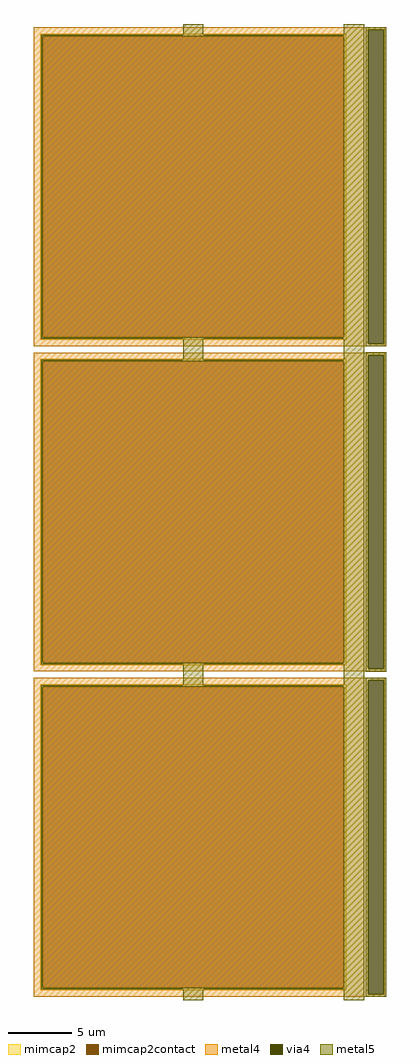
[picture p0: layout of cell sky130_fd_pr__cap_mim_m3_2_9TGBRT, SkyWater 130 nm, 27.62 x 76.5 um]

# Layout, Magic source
magic
tech sky130A
magscale 1 2
<< metal4 >>
rect -2751 7559 2751 7600
rect -2751 2641 2495 7559
rect 2731 2641 2751 7559
rect -2751 2600 2751 2641
rect -2751 2459 2751 2500
rect -2751 -2459 2495 2459
rect 2731 -2459 2751 2459
rect -2751 -2500 2751 -2459
rect -2751 -2641 2751 -2600
rect -2751 -7559 2495 -2641
rect 2731 -7559 2751 -2641
rect -2751 -7600 2751 -7559
<< via4 >>
rect 2495 2641 2731 7559
rect 2495 -2459 2731 2459
rect 2495 -7559 2731 -2641
<< mimcap2 >>
rect -2651 7460 2149 7500
rect -2651 2740 -2611 7460
rect 2109 2740 2149 7460
rect -2651 2700 2149 2740
rect -2651 2360 2149 2400
rect -2651 -2360 -2611 2360
rect 2109 -2360 2149 2360
rect -2651 -2400 2149 -2360
rect -2651 -2740 2149 -2700
rect -2651 -7460 -2611 -2740
rect 2109 -7460 2149 -2740
rect -2651 -7500 2149 -7460
<< mimcap2contact >>
rect -2611 2740 2109 7460
rect -2611 -2360 2109 2360
rect -2611 -7460 2109 -2740
<< metal5 >>
rect -411 7484 -91 7650
rect 2109 7484 2429 7650
rect -2635 7460 2429 7484
rect -2635 2740 -2611 7460
rect 2109 2740 2429 7460
rect -2635 2716 2429 2740
rect -411 2384 -91 2716
rect 2109 2384 2429 2716
rect 2453 7559 2773 7601
rect 2453 2641 2495 7559
rect 2731 2641 2773 7559
rect 2453 2599 2773 2641
rect -2635 2360 2429 2384
rect -2635 -2360 -2611 2360
rect 2109 -2360 2429 2360
rect -2635 -2384 2429 -2360
rect -411 -2716 -91 -2384
rect 2109 -2716 2429 -2384
rect 2453 2459 2773 2501
rect 2453 -2459 2495 2459
rect 2731 -2459 2773 2459
rect 2453 -2501 2773 -2459
rect -2635 -2740 2429 -2716
rect -2635 -7460 -2611 -2740
rect 2109 -7460 2429 -2740
rect -2635 -7484 2429 -7460
rect -411 -7650 -91 -7484
rect 2109 -7650 2429 -7484
rect 2453 -2641 2773 -2599
rect 2453 -7559 2495 -2641
rect 2731 -7559 2773 -2641
rect 2453 -7601 2773 -7559
<< properties >>
string gencell sky130_fd_pr__cap_mim_m3_2
string FIXED_BBOX -2751 2600 2249 7600
string parameters w 24.0 l 24.0 val 1.17k carea 2.00 cperi 0.19 nx 1 ny 3 dummy 0 square 0 lmin 2.00 wmin 2.00 lmax 30.0 wmax 30.0 dc 0 bconnect 1 tconnect 1 ccov 100
string library sky130
<< end >>
